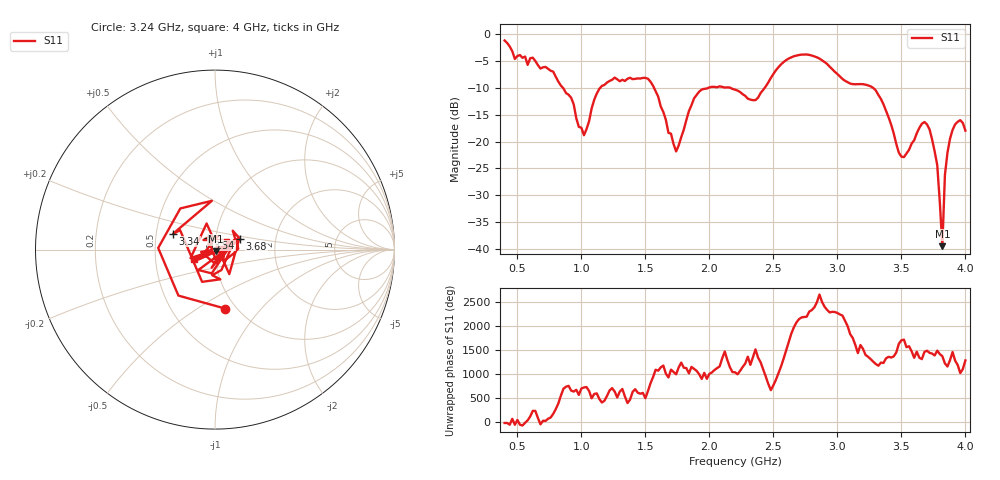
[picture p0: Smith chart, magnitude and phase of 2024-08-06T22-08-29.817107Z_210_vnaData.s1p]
!Created with skrf (http://scikit-rf.org).
# Hz S RI R 50.0
!freq ReS11 ImS11
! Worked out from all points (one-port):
!   181 points, 400 MHz to 4 GHz, reference 50 ohm
!   lowest |S11| = -39.5 dB at 3.82 GHz (marker M1), VSWR 1.02, Z = 50.4 - j0.982 ohm
!   |S11| at or under -10 dB: 856.3 MHz to 1.146 GHz (289.9 MHz wide, 29 % of centre); 1.568 GHz to 1.99 GHz (422.2 MHz wide, 23.7 % of centre); 3.28 GHz to end of sweep (the widest 3 of 4)
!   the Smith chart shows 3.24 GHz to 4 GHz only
!   S11 on the Smith chart (normalised r, x): 3.24 GHz: 0.89, -0.66; 3.34 GHz: 0.61, +0.12; 3.54 GHz: 0.92, +0.12; 3.68 GHz: 1.32, +0.16; 4 GHz: 0.79, -0.08
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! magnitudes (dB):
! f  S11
! 400 MHz  -1.1
! 480 MHz  -4.6
! 620 MHz  -4.4
! 860 MHz  -10.1
! 1.02 GHz  -18.8
! 1.14 GHz  -10.2
! 1.3 GHz  -8.8
! 1.52 GHz  -8.3
! 1.74 GHz  -21.9
! 1.76 GHz  -20.7
! 1.92 GHz  -10.7
! 2.2 GHz  -10.3
! 2.36 GHz  -12.3
! 2.66 GHz  -4.1
! 2.86 GHz  -4.5
! 3.1 GHz  -9.2
! 3.24 GHz  -9.5
! 3.34 GHz  -12.1
! 3.48 GHz  -22.1
! 3.54 GHz  -22.2
! 3.56 GHz  -21.5
! 3.68 GHz  -16.4
! 3.78 GHz  -24.4
! 3.82 GHz  -39.5
! 3.84 GHz  -26.3
! 3.88 GHz  -19.5
! 3.96 GHz  -16.0
! 4 GHz  -18.0
